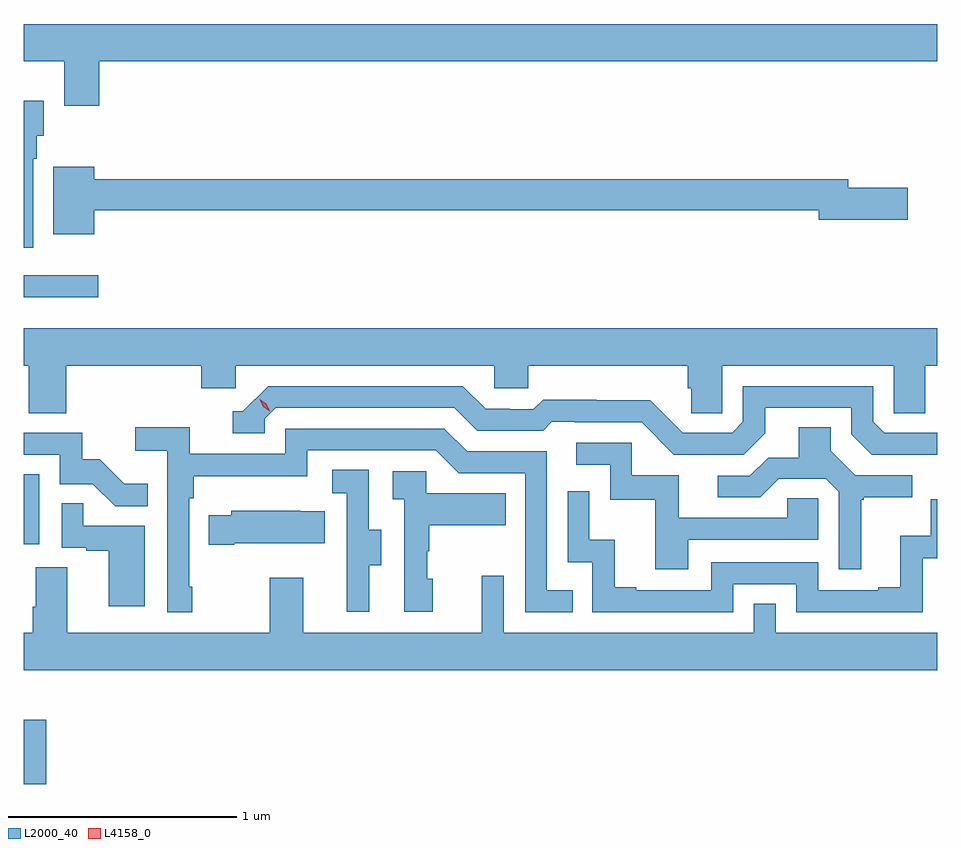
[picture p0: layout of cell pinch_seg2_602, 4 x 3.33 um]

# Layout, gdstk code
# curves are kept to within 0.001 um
import gdstk
lib = gdstk.Library(unit=1e-6, precision=1e-09)
def R(c, l, rs):  # rectangles x0, y0, x1, y1
    for r in rs: c.add(gdstk.rectangle(r[:2], r[2:], *l))
def P(c, l, *ps):  # polygons
    for p in ps: c.add(gdstk.Polygon(p, *l))
L2000_40 = (2000, 40)
L4158_0 = (4158, 0)

pinch_seg2_602 = lib.new_cell('pinch_seg2_602')
R(pinch_seg2_602, L2000_40, [(1031.215,605.845,1031.315,606.127), (1031.215,606.894,1031.284,607.201), (1031.215,607.976,1031.542,608.073)])
P(pinch_seg2_602, L2000_40, [(1031.546,609.008),(1035.215,609.008),(1035.215,609.172),(1031.215,609.172),(1031.215,609.008),(1031.393,609.008),(1031.393,608.814),(1031.546,608.814)],
  [(1031.257,608.582),(1031.272,608.582),(1031.272,608.682),(1031.302,608.682),(1031.302,608.836),(1031.215,608.836),(1031.215,608.193),(1031.257,608.193)],
  [(1031.524,608.356),(1034.696,608.356),(1034.696,608.314),(1035.085,608.314),(1035.085,608.456),(1034.824,608.456),(1034.824,608.492),(1031.524,608.492),(1031.524,608.548),(1031.345,608.548),(1031.345,608.252),(1031.524,608.252)],
  [(1031.215,607.676),(1031.237,607.676),(1031.237,607.468),(1031.402,607.468),(1031.402,607.676),(1031.993,607.676),(1031.993,607.578),(1032.144,607.578),(1032.144,607.676),(1033.275,607.676),(1033.275,607.578),(1033.425,607.578),(1033.425,607.676),(1034.123,607.676),(1034.123,607.578),(1034.137,607.578),(1034.137,607.468),(1034.274,607.468),(1034.274,607.676),(1035.024,607.676),(1035.024,607.468),(1035.163,607.468),(1035.163,607.676),(1035.215,607.676),(1035.215,607.84),(1031.215,607.84)],
  [(1035.215,607.383),(1034.982,607.383),(1034.934,607.431),(1034.934,607.587),(1034.364,607.587),(1034.364,607.431),(1034.316,607.383),(1034.1,607.383),(1033.958,607.525),(1033.722,607.525),(1033.722,607.528),(1033.489,607.528),(1033.447,607.485),(1033.344,607.485),(1033.344,607.488),(1033.237,607.488),(1033.138,607.587),(1032.285,607.587),(1032.174,607.476),(1032.131,607.476),(1032.131,607.38),(1032.27,607.38),(1032.27,607.443),(1032.318,607.491),(1033.101,607.491),(1033.2,607.392),(1033.489,607.392),(1033.528,607.431),(1033.627,607.431),(1033.627,607.428),(1033.92,607.428),(1034.061,607.287),(1034.367,607.287),(1034.461,607.381),(1034.461,607.491),(1034.838,607.491),(1034.838,607.377),(1034.928,607.287),(1035.215,607.286)],
  [(1031.953,606.709),(1031.94,606.709),(1031.94,607.097),(1031.96,607.097),(1031.96,607.193),(1032.456,607.193),(1032.456,607.305),(1033.02,607.305),(1033.119,607.206),(1033.41,607.206),(1033.41,606.597),(1033.619,606.597),(1033.619,606.693),(1033.506,606.693),(1033.506,607.302),(1033.156,607.302),(1033.057,607.401),(1032.36,607.401),(1032.36,607.29),(1031.942,607.29),(1031.942,607.406),(1031.703,607.406),(1031.703,607.304),(1031.844,607.304),(1031.844,606.597),(1031.953,606.597)],
  [(1034.881,607.089),(1034.893,607.089),(1034.893,607.1),(1035.106,607.1),(1035.106,607.197),(1034.856,607.197),(1034.749,607.304),(1034.749,607.406),(1034.609,607.406),(1034.609,607.274),(1034.474,607.274),(1034.394,607.194),(1034.253,607.194),(1034.253,607.101),(1034.44,607.101),(1034.521,607.182),(1034.727,607.182),(1034.784,607.125),(1034.784,606.786),(1034.881,606.786)],
  [(1031.759,607.159),(1031.655,607.159),(1031.548,607.266),(1031.472,607.266),(1031.472,607.383),(1031.215,607.383),(1031.215,607.287),(1031.373,607.287),(1031.373,607.158),(1031.517,607.158),(1031.615,607.06),(1031.759,607.06)],
  [(1034.125,606.915),(1034.694,606.915),(1034.694,607.095),(1034.557,607.095),(1034.557,607.011),(1034.083,607.011),(1034.083,607.197),(1033.878,607.197),(1033.878,607.338),(1033.635,607.338),(1033.635,607.242),(1033.782,607.242),(1033.782,607.089),(1033.981,607.089),(1033.981,606.786),(1034.125,606.786)],
  [(1032.727,606.802),(1032.781,606.802),(1032.781,606.957),(1032.726,606.957),(1032.726,607.22),(1032.567,607.22),(1032.567,607.117),(1032.63,607.117),(1032.63,606.813),(1032.629,606.813),(1032.629,606.6),(1032.727,606.6)],
  [(1033.006,606.744),(1032.981,606.744),(1032.981,606.863),(1032.991,606.863),(1032.991,606.977),(1033.325,606.977),(1033.325,607.117),(1032.978,607.117),(1032.978,607.215),(1032.831,607.215),(1032.831,607.091),(1032.882,607.091),(1032.882,606.6),(1033.006,606.6)],
  [(1034.322,606.72),(1034.598,606.72),(1034.598,606.597),(1035.15,606.597),(1035.15,606.833),(1035.215,606.833),(1035.215,607.092),(1035.186,607.092),(1035.186,606.931),(1035.053,606.931),(1035.053,606.706),(1034.957,606.706),(1034.957,606.693),(1034.694,606.693),(1034.694,606.816),(1034.226,606.816),(1034.226,606.693),(1033.897,606.693),(1033.897,606.706),(1033.802,606.706),(1033.802,606.914),(1033.692,606.914),(1033.692,607.126),(1033.596,607.126),(1033.596,606.816),(1033.704,606.816),(1033.704,606.597),(1034.322,606.597)],
  [(1031.746,606.975),(1031.477,606.975),(1031.477,607.073),(1031.382,607.073),(1031.382,606.879),(1031.489,606.879),(1031.489,606.867),(1031.588,606.867),(1031.588,606.624),(1031.746,606.624)],
  [(1032.136,606.899),(1032.533,606.899),(1032.533,607.039),(1032.425,607.039),(1032.425,607.042),(1032.123,607.042),(1032.123,607.021),(1032.025,607.021),(1032.025,606.892),(1032.136,606.892)],
  [(1035.215,606.508),(1034.508,606.508),(1034.508,606.635),(1034.412,606.635),(1034.412,606.508),(1033.317,606.508),(1033.317,606.757),(1033.22,606.757),(1033.22,606.508),(1032.439,606.508),(1032.439,606.748),(1032.292,606.748),(1032.292,606.508),(1031.407,606.508),(1031.407,606.794),(1031.267,606.794),(1031.267,606.62),(1031.255,606.62),(1031.255,606.508),(1031.215,606.508),(1031.215,606.344),(1035.215,606.344)])
P(pinch_seg2_602, L4158_0, [(1032.293,607.476),(1032.263,607.497),(1032.248,607.53),(1032.248,607.53),(1032.248,607.53),(1032.278,607.51),(1032.293,607.477),(1032.293,607.476)])

lib.write_gds('pinch_seg2_602.gds')
